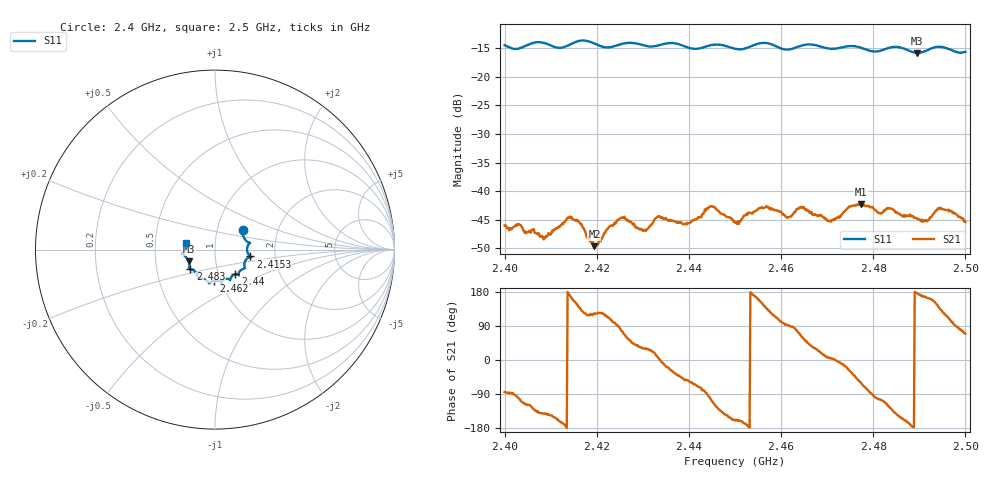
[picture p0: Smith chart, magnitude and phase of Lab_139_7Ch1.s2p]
# Hz S RI R 50
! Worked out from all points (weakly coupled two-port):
!   601 points, 2.4 GHz to 2.5 GHz, reference 50 ohm
!   highest |S21| = -42.26 dB at 2.4773 GHz (marker M1); lowest = -49.6 dB at 2.4195 GHz (marker M2)
!   lowest |S11| = -15.9 dB at 2.4895 GHz (marker M3), VSWR 1.38, Z = 36.9 - j5.01 ohm
!   |S11| at or under -10 dB: start of sweep to end of sweep
!   S12 and S22 are empty: the file has one direction only
!   S11 on the Smith chart (normalised r, x): 2.4 GHz: 1.33, +0.29; 2.4153 GHz: 1.48, -0.12; 2.44 GHz: 1.20, -0.34; 2.462 GHz: 0.93, -0.33; 2.483 GHz: 0.74, -0.17; 2.5 GHz: 0.72, +0.06
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2.4e9  0.155 0.1064  0.000486 -0.005  0 0  0 0
2.408833e9  0.1923 0.0348  -0.00303 -0.0025  0 0  0 0
2.415333e9  0.1963 -0.0384  -0.00491 0.00257  0 0  0 0
2.416667e9  0.2021 -0.0424  -0.0034 0.00391  0 0  0 0
2.4195e9  0.1895 -0.0434  -0.00172 0.00283  0 0  0 0
2.425167e9  0.1654 -0.0967  0.000942 0.00573  0 0  0 0
2.430333e9  0.1497 -0.1114  0.00402 0.00229  0 0  0 0
2.433333e9  0.1311 -0.1336  0.00599 0.000583  0 0  0 0
2.44e9  0.114 -0.1369  0.0029 -0.00437  0 0  0 0
2.445e9  0.0845 -0.1687  -0.0023 -0.00705  0 0  0 0
2.45e9  0.0646 -0.1626  -0.00499 -0.00183  0 0  0 0
2.456667e9  0.0389 -0.1928  -0.00544 0.00492  0 0  0 0
2.462e9  -0.00499 -0.1731  0.000103 0.006  0 0  0 0
2.4645e9  -0.0302 -0.1845  0.00346 0.00642  0 0  0 0
2.466667e9  -0.0342 -0.1875  0.00529 0.00385  0 0  0 0
2.471e9  -0.0583 -0.165  0.00555 0.000405  0 0  0 0
2.477333e9  -0.0965 -0.1505  0.00382 -0.0067  0 0  0 0
2.483e9  -0.1375 -0.1098  -0.00327 -0.00632  0 0  0 0
2.483333e9  -0.1399 -0.1094  -0.00369 -0.00606  0 0  0 0
2.4895e9  -0.1465 -0.0661  -0.00577 0.000354  0 0  0 0
2.4945e9  -0.1807 -0.0213  -0.00487 0.00501  0 0  0 0
2.5e9  -0.16 0.0391  0.0019 0.00506  0 0  0 0
